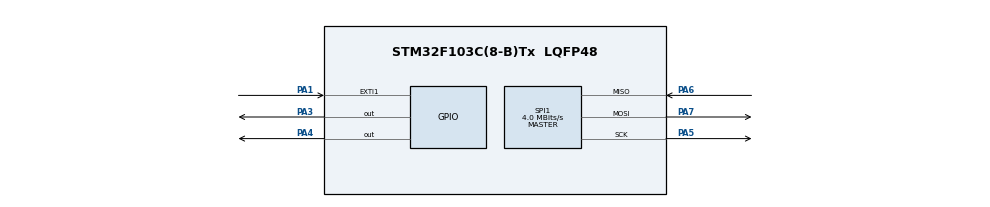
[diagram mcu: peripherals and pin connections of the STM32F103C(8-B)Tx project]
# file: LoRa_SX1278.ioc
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Mcu.Family=STM32F1
Mcu.Name=STM32F103C(8-B)Tx
Mcu.Package=LQFP48
NVIC.EXTI1_IRQn=true\:0\:0\:false\:false\:true\:true\:true\:true
NVIC.PriorityGroup=NVIC_PRIORITYGROUP_4
NVIC.RTC_Alarm_IRQn=true\:0\:0\:false\:false\:true\:true\:true\:true
PA1.Signal=GPXTI1
PA13.Mode=Serial_Wire
PA13.Signal=SYS_JTMS-SWDIO
PA14.Mode=Serial_Wire
PA14.Signal=SYS_JTCK-SWCLK
PA3.Signal=GPIO_Output
PA4.Signal=GPIO_Output
PA5.Mode=Full_Duplex_Master
PA5.Signal=SPI1_SCK
PA6.Mode=Full_Duplex_Master
PA6.Signal=SPI1_MISO
PA7.Mode=Full_Duplex_Master
PA7.Signal=SPI1_MOSI
PC14-OSC32_IN.Mode=LSE-External-Oscillator
PC14-OSC32_IN.Signal=RCC_OSC32_IN
PC15-OSC32_OUT.Mode=LSE-External-Oscillator
PC15-OSC32_OUT.Signal=RCC_OSC32_OUT
PD0-OSC_IN.Mode=HSE-External-Oscillator
PD0-OSC_IN.Signal=RCC_OSC_IN
PD1-OSC_OUT.Mode=HSE-External-Oscillator
PD1-OSC_OUT.Signal=RCC_OSC_OUT
ProjectManager.HeapSize=0x200
ProjectManager.StackSize=0x400
ProjectManager.TargetToolchain=STM32CubeIDE
RCC.APB1Freq_Value=8000000
RCC.APB2Freq_Value=8000000
SPI1.CalculateBaudRate=4.0 MBits/s
SPI1.Direction=SPI_DIRECTION_2LINES
SPI1.Mode=SPI_MODE_MASTER
SPI1.VirtualType=VM_MASTER
VP_RTC_VS_RTC_Activate.Mode=RTC_Enabled
VP_RTC_VS_RTC_Calendar.Mode=RTC_Calendar
board=custom

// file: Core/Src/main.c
/* USER CODE BEGIN Header */
/**
  ******************************************************************************
  * @file           : main.c
  * @brief          : Main program body
  ******************************************************************************
  * @attention
  *
  * Copyright (c) 2026 STMicroelectronics.
  * All rights reserved.
  *
  * This software is licensed under terms that can be found in the LICENSE file
  * in the root directory of this software component.
  * If no LICENSE file comes with this software, it is provided AS-IS.
  *
  ******************************************************************************
  */
/* USER CODE END Header */
#include "main.h"

/* USER CODE BEGIN PTD */
typedef struct __attribute__((packed)) {
    uint8_t  header;       // 1 byte: 0x03
    uint8_t  sensor_id;    // 1 byte: ID Nút cảm biến (0x24 = Nút số 36)
    uint8_t  router_id;    // 1 byte: ID Nút cha (0x01)
    int16_t  temperature;  // 2 byte: Nhiệt độ x100
    uint16_t humidity;     // 2 byte: Độ ẩm x100
    uint8_t  soil_moisture;// 1 byte: Độ ẩm đất
} LoRa_Data_Frame_t;
/* USER CODE END PTD */

RTC_HandleTypeDef hrtc;

SPI_HandleTypeDef hspi1;

/* USER CODE BEGIN PV */
#define MY_ROUTER_ID 0x01          // Định danh của Nút Router này

LoRa_Data_Frame_t rxFrame;         // Biến lưu trữ gói tin vừa bắt được
volatile uint8_t txDoneFlag = 0;   // Cờ báo hiệu phát xong
volatile uint8_t rxDoneFlag = 0;   // Cờ báo hiệu nhận xong
/* USER CODE END PV */
void SystemClock_Config(void);
static void MX_GPIO_Init(void);
static void MX_RTC_Init(void);
static void MX_SPI1_Init(void);

/* USER CODE BEGIN 0 */
// ====================================================================
// DRIVER DHT22 (SỬ DỤNG BỘ ĐẾM DWT)
// ====================================================================
#define DHT_PORT GPIOB
#define DHT_PIN  GPIO_PIN_12

void DWT_Delay_Init(void) {
    CoreDebug->DEMCR |= CoreDebug_DEMCR_TRCENA_Msk;
    DWT->CYCCNT = 0;
    DWT->CTRL |= DWT_CTRL_CYCCNTENA_Msk;
}

void delay_us(uint32_t us) {
    uint32_t startTick = DWT->CYCCNT;
    uint32_t delayTicks = us * (SystemCoreClock / 1000000);
    while (DWT->CYCCNT - startTick < delayTicks);
}

void DHT22_Set_Output(void) {
    GPIO_InitTypeDef GPIO_InitStruct = {0};
    GPIO_InitStruct.Pin = DHT_PIN;
    GPIO_InitStruct.Mode = GPIO_MODE_OUTPUT_PP;
    GPIO_InitStruct.Speed = GPIO_SPEED_FREQ_HIGH;
    HAL_GPIO_Init(DHT_PORT, &GPIO_InitStruct);
}

void DHT22_Set_Input(void) {
    GPIO_InitTypeDef GPIO_InitStruct = {0};
    GPIO_InitStruct.Pin = DHT_PIN;
    GPIO_InitStruct.Mode = GPIO_MODE_INPUT;
    GPIO_InitStruct.Pull = GPIO_NOPULL;
    HAL_GPIO_Init(DHT_PORT, &GPIO_InitStruct);
}

uint8_t DHT22_Read_Data(int16_t *temperature, uint16_t *humidity) {
    uint8_t data[5] = {0}, timeout = 0;
    DHT22_Set_Output();
    HAL_GPIO_WritePin(DHT_PORT, DHT_PIN, GPIO_PIN_RESET); delay_us(1200);
    HAL_GPIO_WritePin(DHT_PORT, DHT_PIN, GPIO_PIN_SET);   delay_us(30);
    DHT22_Set_Input();

    while (HAL_GPIO_ReadPin(DHT_PORT, DHT_PIN) == GPIO_PIN_SET) { if(++timeout > 100) return 0; delay_us(1); }
    timeout=0;
    while (HAL_GPIO_ReadPin(DHT_PORT, DHT_PIN) == GPIO_PIN_RESET) { if(++timeout > 100) return 0; delay_us(1); }
    timeout=0;
    while (HAL_GPIO_ReadPin(DHT_PORT, DHT_PIN) == GPIO_PIN_SET) { if(++timeout > 100) return 0; delay_us(1); }

    for (uint8_t i = 0; i < 5; i++) {
        for (uint8_t j = 0; j < 8; j++) {
            timeout = 0;
            while (HAL_GPIO_ReadPin(DHT_PORT, DHT_PIN) == GPIO_PIN_RESET) { if(++timeout > 100) return 0; delay_us(1); }
            delay_us(40);
            if (HAL_GPIO_ReadPin(DHT_PORT, DHT_PIN) == GPIO_PIN_SET) {
                data[i] = (data[i] << 1) | 0x01; timeout = 0;
                while (HAL_GPIO_ReadPin(DHT_PORT, DHT_PIN) == GPIO_PIN_SET) { if(++timeout > 100) return 0; delay_us(1); }
            } else {
                data[i] = (data[i] << 1);
            }
        }
    }
    if ((uint8_t)(data[0] + data[1] + data[2] + data[3]) == data[4]) {
        *humidity = (data[0] << 8) | data[1];
        *temperature = (data[2] << 8) | data[3];
        return 1;
    }
    return 0;
}

// ====================================================================
// DRIVER LORA SX1278 (433.5MHz, SF8, BW 125kHz)
// ====================================================================
#define SX1278_NSS_LOW()  HAL_GPIO_WritePin(GPIOA, GPIO_PIN_4, GPIO_PIN_RESET)
#define SX1278_NSS_HIGH() HAL_GPIO_WritePin(GPIOA, GPIO_PIN_4, GPIO_PIN_SET)
#define SX1278_RST_LOW()  HAL_GPIO_WritePin(GPIOA, GPIO_PIN_3, GPIO_PIN_RESET)
#define SX1278_RST_HIGH() HAL_GPIO_WritePin(GPIOA, GPIO_PIN_3, GPIO_PIN_SET)

void SX1278_WriteReg(uint8_t regAddr, uint8_t data) {
    SX1278_NSS_LOW();
    uint8_t txAddr = regAddr | 0x80;
    HAL_SPI_Transmit(&hspi1, &txAddr, 1, 100);
    HAL_SPI_Transmit(&hspi1, &data, 1, 100);
    SX1278_NSS_HIGH();
}

uint8_t SX1278_ReadReg(uint8_t regAddr) {
    uint8_t rxData = 0, txAddr = regAddr & 0x7F;
    SX1278_NSS_LOW();
    HAL_SPI_Transmit(&hspi1, &txAddr, 1, 100);
    HAL_SPI_Receive(&hspi1, &rxData, 1, 100);
    SX1278_NSS_HIGH();
    return rxData;
}

void SX1278_Init(void) {
    SX1278_RST_LOW(); HAL_Delay(10); SX1278_RST_HIGH(); HAL_Delay(10);
    SX1278_WriteReg(0x01, 0x80 | 0x00); HAL_Delay(10);
    SX1278_WriteReg(0x06, 0x6C);
    SX1278_WriteReg(0x07, 0x60);
    SX1278_WriteReg(0x08, 0x00);
    SX1278_WriteReg(0x1D, 0x72);
    SX1278_WriteReg(0x1E, 0x84);
    SX1278_WriteReg(0x39, 0x12);
    SX1278_WriteReg(0x01, 0x80 | 0x01);
}

void SX1278_Transmit(LoRa_Data_Frame_t *frame) {
    uint8_t payloadSize = sizeof(LoRa_Data_Frame_t);
    SX1278_WriteReg(0x01, 0x80 | 0x01);
    SX1278_WriteReg(0x40, 0x40);
    SX1278_WriteReg(0x0D, SX1278_ReadReg(0x0E));
    SX1278_WriteReg(0x22, payloadSize);
    uint8_t *dataPtr = (uint8_t *)frame;
    for (uint8_t i = 0; i < payloadSize; i++) SX1278_WriteReg(0x00, dataPtr[i]);
    SX1278_WriteReg(0x01, 0x80 | 0x03);
} // <--- Dấu ngoặc nhọn cực kỳ quan trọng để tách biệt các hàm!

// --- HÀM CHUYỂN MODULE SANG LẮNG NGHE LIÊN TỤC (RX CONTINUOUS) ---
void SX1278_StartReceive(void) {
    SX1278_WriteReg(0x01, 0x80 | 0x01);
    SX1278_WriteReg(0x40, 0x00);
    SX1278_WriteReg(0x01, 0x80 | 0x05);
}

// --- HÀM RÚT DỮ LIỆU TỪ BỘ ĐỆM SAU KHI NHẬN THÀNH CÔNG ---
void SX1278_ReadPayload(LoRa_Data_Frame_t *frame) {
    uint8_t rxBytes = SX1278_ReadReg(0x13);
    uint8_t rxAddr = SX1278_ReadReg(0x10);

    SX1278_WriteReg(0x0D, rxAddr);

    uint8_t *dataPtr = (uint8_t *)frame;
    for (uint8_t i = 0; i < rxBytes; i++) {
        dataPtr[i] = SX1278_ReadReg(0x00);
    }
}
/* USER CODE END 0 */
int main(void)
{

  /* MCU Configuration--------------------------------------------------------*/

  /* Reset of all peripherals, Initializes the Flash interface and the Systick. */
  HAL_Init();

  /* Configure the system clock */
  SystemClock_Config();

  /* Initialize all configured peripherals */
  MX_GPIO_Init();
  MX_RTC_Init();
  MX_SPI1_Init();
  /* USER CODE BEGIN 2 */
    DWT_Delay_Init();
    SX1278_Init();
    SX1278_StartReceive(); // Kích hoạt bộ thu sóng
    /* USER CODE END 2 */

  /* Infinite loop */
    /* USER CODE BEGIN WHILE */
      while (1)
      {
          // KHI CÓ SÓNG LORA BAY TỚI
          if (rxDoneFlag == 1) {
              rxDoneFlag = 0; // Hạ cờ để bắt đầu xử lý

              // 1. Kéo dữ liệu vào biến rxFrame
              SX1278_ReadPayload(&rxFrame);

              // 2. BỘ LỌC ĐỊA CHỈ: Chỉ nhận gói tin đúng chuẩn của mảng Cảm biến và đúng ID Router này
              if (rxFrame.header == 0x03 && rxFrame.router_id == MY_ROUTER_ID) {

                  // Trễ nhỏ 150ms để tránh đụng độ sóng vô tuyến với Nút Cảm Biến vừa phát
                  HAL_Delay(150);

                  // 3. ĐỊNH TUYẾN: Đổi địa chỉ đích để bắn về Gateway (ID 0x00)
                  rxFrame.router_id = 0x00;

                  // 4. CHUYỂN TIẾP (FORWARD)
                  txDoneFlag = 0;
                  SX1278_Transmit(&rxFrame);

                  while (txDoneFlag == 0) {
                      __NOP(); // CPU chờ trong trạng thái nghỉ nhẹ
                  }
              }

              // 5. Quay trở lại chế độ lắng nghe ngay lập tức
              SX1278_StartReceive();
          }

      /* USER CODE END WHILE */

      }
}

void SystemClock_Config(void)
{
  RCC_OscInitTypeDef RCC_OscInitStruct = {0};
  RCC_ClkInitTypeDef RCC_ClkInitStruct = {0};
  RCC_PeriphCLKInitTypeDef PeriphClkInit = {0};

  /** Initializes the RCC Oscillators according to the specified parameters
  * in the RCC_OscInitTypeDef structure.
  */
  RCC_OscInitStruct.OscillatorType = RCC_OSCILLATORTYPE_HSI|RCC_OSCILLATORTYPE_LSI;
  RCC_OscInitStruct.HSIState = RCC_HSI_ON;
  RCC_OscInitStruct.HSICalibrationValue = RCC_HSICALIBRATION_DEFAULT;
  RCC_OscInitStruct.LSIState = RCC_LSI_ON;
  RCC_OscInitStruct.PLL.PLLState = RCC_PLL_NONE;
  if (HAL_RCC_OscConfig(&RCC_OscInitStruct) != HAL_OK)
  {
    Error_Handler();
  }

  /** Initializes the CPU, AHB and APB buses clocks
  */
  RCC_ClkInitStruct.ClockType = RCC_CLOCKTYPE_HCLK|RCC_CLOCKTYPE_SYSCLK
                              |RCC_CLOCKTYPE_PCLK1|RCC_CLOCKTYPE_PCLK2;
  RCC_ClkInitStruct.SYSCLKSource = RCC_SYSCLKSOURCE_HSI;
  RCC_ClkInitStruct.AHBCLKDivider = RCC_SYSCLK_DIV1;
  RCC_ClkInitStruct.APB1CLKDivider = RCC_HCLK_DIV1;
  RCC_ClkInitStruct.APB2CLKDivider = RCC_HCLK_DIV1;

  if (HAL_RCC_ClockConfig(&RCC_ClkInitStruct, FLASH_LATENCY_0) != HAL_OK)
  {
    Error_Handler();
  }
  PeriphClkInit.PeriphClockSelection = RCC_PERIPHCLK_RTC;
  PeriphClkInit.RTCClockSelection = RCC_RTCCLKSOURCE_LSI;
  if (HAL_RCCEx_PeriphCLKConfig(&PeriphClkInit) != HAL_OK)
  {
    Error_Handler();
  }
}

static void MX_RTC_Init(void)
{

  RTC_TimeTypeDef sTime = {0};
  RTC_DateTypeDef DateToUpdate = {0};

  /** Initialize RTC Only
  */
  hrtc.Instance = RTC;
  hrtc.Init.AsynchPrediv = RTC_AUTO_1_SECOND;
  hrtc.Init.OutPut = RTC_OUTPUTSOURCE_ALARM;
  if (HAL_RTC_Init(&hrtc) != HAL_OK)
  {
    Error_Handler();
  }

  /** Initialize RTC and set the Time and Date
  */
  sTime.Hours = 0x0;
  sTime.Minutes = 0x0;
  sTime.Seconds = 0x0;

  if (HAL_RTC_SetTime(&hrtc, &sTime, RTC_FORMAT_BCD) != HAL_OK)
  {
    Error_Handler();
  }
  DateToUpdate.WeekDay = RTC_WEEKDAY_MONDAY;
  DateToUpdate.Month = RTC_MONTH_JANUARY;
  DateToUpdate.Date = 0x1;
  DateToUpdate.Year = 0x0;

  if (HAL_RTC_SetDate(&hrtc, &DateToUpdate, RTC_FORMAT_BCD) != HAL_OK)
  {
    Error_Handler();
  }

}

static void MX_SPI1_Init(void)
{

  /* SPI1 parameter configuration*/
  hspi1.Instance = SPI1;
  hspi1.Init.Mode = SPI_MODE_MASTER;
  hspi1.Init.Direction = SPI_DIRECTION_2LINES;
  hspi1.Init.DataSize = SPI_DATASIZE_8BIT;
  hspi1.Init.CLKPolarity = SPI_POLARITY_LOW;
  hspi1.Init.CLKPhase = SPI_PHASE_1EDGE;
  hspi1.Init.NSS = SPI_NSS_SOFT;
  hspi1.Init.BaudRatePrescaler = SPI_BAUDRATEPRESCALER_2;
  hspi1.Init.FirstBit = SPI_FIRSTBIT_MSB;
  hspi1.Init.TIMode = SPI_TIMODE_DISABLE;
  hspi1.Init.CRCCalculation = SPI_CRCCALCULATION_DISABLE;
  hspi1.Init.CRCPolynomial = 10;
  if (HAL_SPI_Init(&hspi1) != HAL_OK)
  {
    Error_Handler();
  }

}

static void MX_GPIO_Init(void)
{
  GPIO_InitTypeDef GPIO_InitStruct = {0};

  /* GPIO Ports Clock Enable */
  __HAL_RCC_GPIOC_CLK_ENABLE();
  __HAL_RCC_GPIOD_CLK_ENABLE();
  __HAL_RCC_GPIOA_CLK_ENABLE();

  /*Configure GPIO pin Output Level */
  HAL_GPIO_WritePin(GPIOA, GPIO_PIN_3|GPIO_PIN_4, GPIO_PIN_RESET);

  /*Configure GPIO pin : PA1 */
  GPIO_InitStruct.Pin = GPIO_PIN_1;
  GPIO_InitStruct.Mode = GPIO_MODE_IT_RISING;
  GPIO_InitStruct.Pull = GPIO_NOPULL;
  HAL_GPIO_Init(GPIOA, &GPIO_InitStruct);

  /*Configure GPIO pins : PA3 PA4 */
  GPIO_InitStruct.Pin = GPIO_PIN_3|GPIO_PIN_4;
  GPIO_InitStruct.Mode = GPIO_MODE_OUTPUT_PP;
  GPIO_InitStruct.Pull = GPIO_NOPULL;
  GPIO_InitStruct.Speed = GPIO_SPEED_FREQ_LOW;
  HAL_GPIO_Init(GPIOA, &GPIO_InitStruct);

  /* EXTI interrupt init*/
  HAL_NVIC_SetPriority(EXTI1_IRQn, 0, 0);
  HAL_NVIC_EnableIRQ(EXTI1_IRQn);

}

/* USER CODE BEGIN 4 */
void HAL_GPIO_EXTI_Callback(uint16_t GPIO_Pin) {
    if (GPIO_Pin == GPIO_PIN_1) {
        uint8_t irqFlags = SX1278_ReadReg(0x12); // Đọc thanh ghi trạng thái

        // NẾU LÀ SỰ KIỆN PHÁT XONG (Bit 3)
        if ((irqFlags & 0x08) != 0) {
            txDoneFlag = 1;
        }

        // NẾU LÀ SỰ KIỆN NHẬN XONG (Bit 6)
        if ((irqFlags & 0x40) != 0) {
            rxDoneFlag = 1;
        }

        SX1278_WriteReg(0x12, 0xFF); // Xóa toàn bộ cờ ngắt
    }
}
void HAL_RTC_AlarmAEventCallback(RTC_HandleTypeDef *hrtc) {
}
/* USER CODE END 4 */

void Error_Handler(void)
{
  __disable_irq();
  while (1)
  {
  }
}
